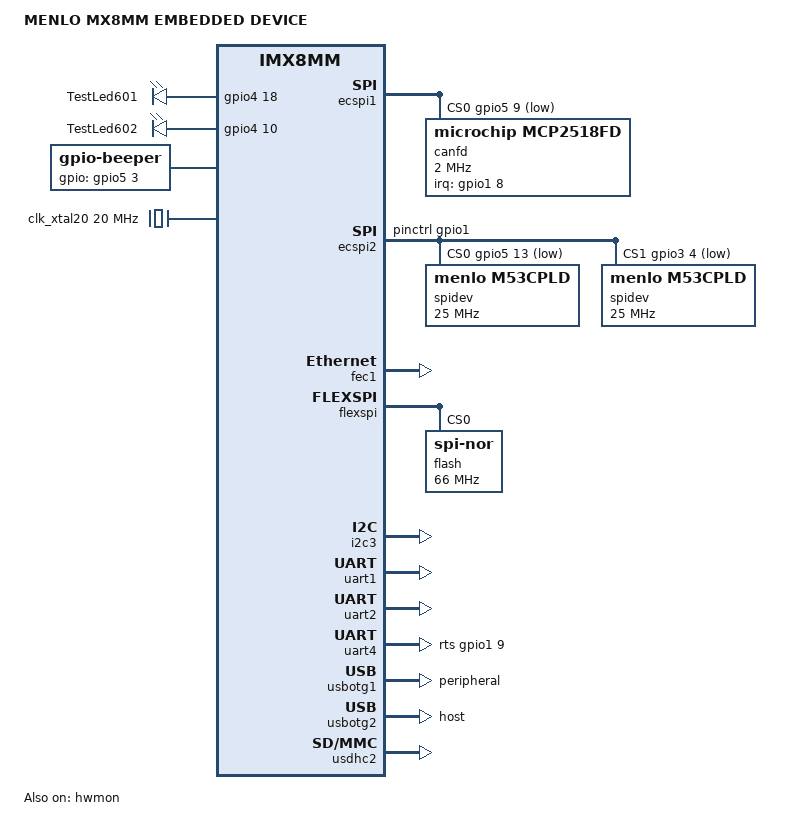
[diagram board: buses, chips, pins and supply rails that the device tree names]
// SPDX-License-Identifier: GPL-2.0+ OR MIT
/*
 * Copyright 2021-2022 Marek Vasut <marex@denx.de>
 */

/dts-v1/;

#include "imx8mm-verdin.dtsi"

/ {
	model = "MENLO MX8MM EMBEDDED DEVICE";
	compatible = "menlo,mx8menlo",
		     "toradex,verdin-imx8mm",
		     "fsl,imx8mm";

	/delete-node/ gpio-keys;

	leds {
		compatible = "gpio-leds";
		pinctrl-names = "default";
		pinctrl-0 = <&pinctrl_led>;

		user1 {
			label = "TestLed601";
			gpios = <&gpio4 18 GPIO_ACTIVE_HIGH>;
			linux,default-trigger = "mmc0";
		};

		user2 {
			label = "TestLed602";
			gpios = <&gpio4 10 GPIO_ACTIVE_HIGH>;
			linux,default-trigger = "heartbeat";
		};
	};

	beeper {
		compatible = "gpio-beeper";
		pinctrl-names = "default";
		pinctrl-0 = <&pinctrl_beeper>;
		gpios = <&gpio5 3 GPIO_ACTIVE_HIGH>;
	};

	/* Fixed clock dedicated to SPI CAN on carrier board */
	clk_xtal20: clk-xtal20 {
		compatible = "fixed-clock";
		#clock-cells = <0>;
		clock-frequency = <20000000>;
	};
};

&ecspi1 {
	#address-cells = <1>;
	#size-cells = <0>;
	pinctrl-names = "default";
	pinctrl-0 = <&pinctrl_ecspi1>;
	cs-gpios = <&gpio5 9 GPIO_ACTIVE_LOW>;
	status = "okay";

	/* CAN controller on the baseboard */
	canfd: can@0 {
		compatible = "microchip,mcp2518fd";
		clocks = <&clk_xtal20>;
		interrupt-parent = <&gpio1>;
		interrupts = <8 IRQ_TYPE_EDGE_FALLING>;
		reg = <0>;
		spi-max-frequency = <2000000>;
	};

};

&ecspi2 {
	pinctrl-0 = <&pinctrl_ecspi2 &pinctrl_gpio1>;
	cs-gpios = <&gpio5 13 GPIO_ACTIVE_LOW>, <&gpio3 4 GPIO_ACTIVE_LOW>;
	status = "okay";

	spidev@0 {
		compatible = "menlo,m53cpld";
		reg = <0>;
		spi-max-frequency = <25000000>;
	};

	spidev@1 {
		compatible = "menlo,m53cpld";
		reg = <1>;
		spi-max-frequency = <25000000>;
	};

};

&ethphy0 {
	max-speed = <100>;
};

&fec1 {
	status = "okay";
};

&flexspi {
	status = "okay";

	flash@0 {
		reg = <0>;
		#address-cells = <1>;
		#size-cells = <1>;
		compatible = "jedec,spi-nor";
		spi-max-frequency = <66000000>;
		spi-rx-bus-width = <4>;
		spi-tx-bus-width = <4>;
	};
};

&gpio1 {
	gpio-line-names =
		"", "", "", "",
		"", "", "", "",
		"", "", "", "",
		"", "", "", "",
		"", "", "", "",
		"", "", "", "",
		"", "", "", "",
		"", "", "", "";
};

&gpio2 {
	gpio-line-names =
		"", "", "", "",
		"", "", "", "",
		"", "", "", "",
		"", "", "", "",
		"", "", "", "",
		"", "", "", "",
		"", "", "", "",
		"", "", "", "";
};

&gpio3 {
	gpio-line-names =
		"", "", "", "",
		"", "", "", "",
		"", "", "", "",
		"", "", "", "",
		"", "", "", "",
		"", "", "DISP_reset", "KBD_intI",
		"", "", "", "",
		"", "", "", "";
};

&gpio4 {
	/*
	 * CPLD_D[n] is ARM_CPLD[n] in schematic
	 * CPLD_int is SA_INTERRUPT in schematic
	 * CPLD_reset is RESET_SOFT in schematic
	 */
	gpio-line-names =
		"CPLD_D[1]", "CPLD_int", "CPLD_reset", "",
		"", "CPLD_D[0]", "", "",
		"", "", "", "CPLD_D[2]",
		"CPLD_D[3]", "CPLD_D[4]", "CPLD_D[5]", "CPLD_D[6]",
		"CPLD_D[7]", "", "", "",
		"", "", "", "",
		"", "", "", "KBD_intK",
		"", "", "", "";
};

&gpio5 {
	gpio-line-names =
		"", "", "", "",
		"", "", "", "",
		"", "", "", "",
		"", "", "", "",
		"", "", "", "",
		"", "", "", "",
		"", "", "", "",
		"", "", "", "";
};

&gpio_expander_21 {
	status = "okay";
};

&hwmon {
	status = "okay";
};

&i2c3 {
	status = "okay";
};

&i2c4 {
	/* None of this is present on the SoM. */
	/delete-node/ bridge@2c;
	/delete-node/ hdmi@48;
	/delete-node/ touch@4a;
	/delete-node/ sensor@4f;
	/delete-node/ eeprom@50;
	/delete-node/ eeprom@57;
};

&iomuxc {
	pinctrl-0 = <&pinctrl_gpio7>, <&pinctrl_gpio_hog1>,
		    <&pinctrl_gpio_hog2>, <&pinctrl_gpio_hog3>;

	pinctrl_beeper: beepergrp {
		fsl,pins = <
			MX8MM_IOMUXC_SPDIF_TX_GPIO5_IO3			0x1c4
		>;
	};

	pinctrl_ecspi1: ecspi1grp {
		fsl,pins = <
			MX8MM_IOMUXC_ECSPI1_SCLK_ECSPI1_SCLK		0x4
			MX8MM_IOMUXC_ECSPI1_MOSI_ECSPI1_MOSI		0x4
			MX8MM_IOMUXC_ECSPI1_MISO_ECSPI1_MISO		0x1c4
			MX8MM_IOMUXC_ECSPI1_SS0_GPIO5_IO9		0x1c4
		>;
	};

	pinctrl_led: ledgrp {
		fsl,pins = <
			MX8MM_IOMUXC_SAI1_TXD6_GPIO4_IO18		0x1c4
			MX8MM_IOMUXC_SAI1_TXFS_GPIO4_IO10		0x1c4
		>;
	};

	pinctrl_uart4_rts: uart4rtsgrp {
		fsl,pins = <
			/* SODIMM 222 */
			MX8MM_IOMUXC_GPIO1_IO09_GPIO1_IO9		0x184
		>;
	};
};

&pinctrl_gpio1 {
	fsl,pins = <
		/* SODIMM 206 */
		MX8MM_IOMUXC_NAND_CE3_B_GPIO3_IO4			0x1c4
	>;
};

&pinctrl_gpio_hog1 {
	fsl,pins = <
		/* SODIMM 88 */
		MX8MM_IOMUXC_SAI1_MCLK_GPIO4_IO20			0x1c4
		/* CPLD_int */
		MX8MM_IOMUXC_SAI1_RXC_GPIO4_IO1				0x1c4
		/* CPLD_reset */
		MX8MM_IOMUXC_SAI1_RXD0_GPIO4_IO2			0x1c4
		/* SODIMM 94 */
		MX8MM_IOMUXC_SAI1_RXD1_GPIO4_IO3			0x1c4
		/* SODIMM 96 */
		MX8MM_IOMUXC_SAI1_RXD2_GPIO4_IO4			0x1c4
		/* CPLD_D[7] */
		MX8MM_IOMUXC_SAI1_RXD3_GPIO4_IO5			0x1c4
		/* CPLD_D[6] */
		MX8MM_IOMUXC_SAI1_RXFS_GPIO4_IO0			0x1c4
		/* CPLD_D[5] */
		MX8MM_IOMUXC_SAI1_TXC_GPIO4_IO11			0x1c4
		/* CPLD_D[4] */
		MX8MM_IOMUXC_SAI1_TXD0_GPIO4_IO12			0x1c4
		/* CPLD_D[3] */
		MX8MM_IOMUXC_SAI1_TXD1_GPIO4_IO13			0x1c4
		/* CPLD_D[2] */
		MX8MM_IOMUXC_SAI1_TXD2_GPIO4_IO14			0x1c4
		/* CPLD_D[1] */
		MX8MM_IOMUXC_SAI1_TXD3_GPIO4_IO15			0x1c4
		/* CPLD_D[0] */
		MX8MM_IOMUXC_SAI1_TXD4_GPIO4_IO16			0x1c4
		/* KBD_intK */
		MX8MM_IOMUXC_SAI2_MCLK_GPIO4_IO27			0x1c4
		/* DISP_reset */
		MX8MM_IOMUXC_SAI5_RXD1_GPIO3_IO22			0x1c4
		/* KBD_intI */
		MX8MM_IOMUXC_SAI5_RXD2_GPIO3_IO23			0x1c4
		/* SODIMM 46 */
		MX8MM_IOMUXC_SAI5_RXD3_GPIO3_IO24			0x1c4
	>;
};

&pinctrl_uart1 {
	fsl,pins = <
		/* SODIMM 149 */
		MX8MM_IOMUXC_SAI2_RXFS_UART1_DCE_TX			0x1c4
		/* SODIMM 147 */
		MX8MM_IOMUXC_SAI2_RXC_UART1_DCE_RX			0x1c4
		/* SODIMM 210 */
		MX8MM_IOMUXC_UART3_RXD_UART1_DTE_RTS_B			0x1c4
		/* SODIMM 212 */
		MX8MM_IOMUXC_UART3_TXD_UART1_DTE_CTS_B			0x1c4
	>;
};

&reg_usb_otg1_vbus {
	/delete-property/ enable-active-high;
	gpio = <&gpio1 12 GPIO_ACTIVE_LOW>;
};

&reg_usb_otg2_vbus {
	/delete-property/ enable-active-high;
	gpio = <&gpio1 14 GPIO_ACTIVE_LOW>;
};

&sai2 {
	status = "disabled";
};

&uart1 {
	uart-has-rtscts;
	status = "okay";
};

&uart2 {
	status = "okay";
};

&uart4 {
	pinctrl-0 = <&pinctrl_uart4 &pinctrl_uart4_rts>;
	linux,rs485-enabled-at-boot-time;
	rts-gpios = <&gpio1 9 GPIO_ACTIVE_HIGH>;
	status = "okay";
};

&usbotg1 {
	dr_mode = "peripheral";
	status = "okay";
};

&usbotg2 {
	dr_mode = "host";
	status = "okay";
};

&usdhc2 {
	status = "okay";
};
